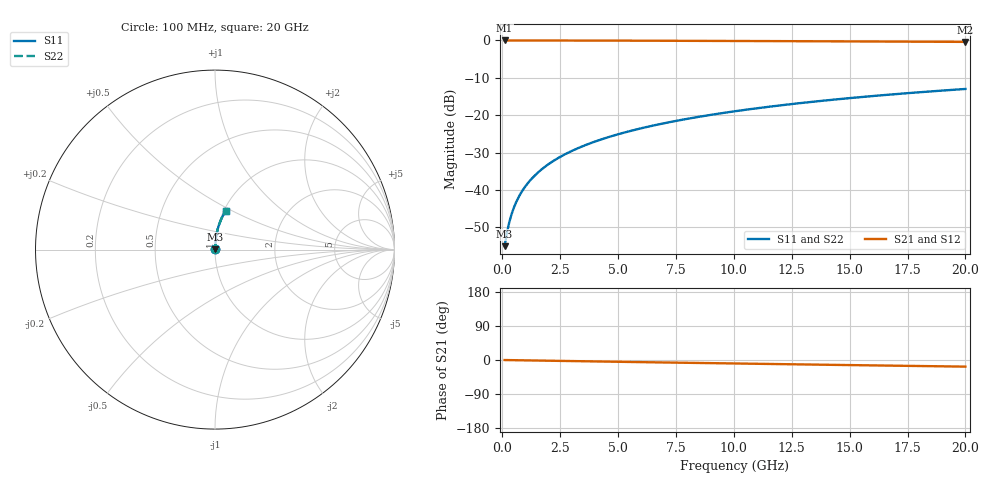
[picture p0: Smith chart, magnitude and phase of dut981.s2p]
! Touchstone file exported from HFSS 2024.1.0
!  File:  C:/UserFiles/LocalFiles/RDL_TSV_Batchsim/temp_RDL_top_981_1779939240.aedt
!  Generated:  11:36:18 AM May 28, 2026
!  Design:  RDL_top
!  Project:  temp_RDL_top_981_1779939240
!  Setup:  Setup1
!  Solution:  Sweep
! Variables:
!  dtsv = 10.80580581um
!  hbump = 3um
!  htsv = 96.15um
!  ldown = 100um
!  lrdl = 185.61um
!  p = 40
!  p1 = 51.59um
!  rhole = 1um
!  t = 450um
!  tdown = 3.915915916um
!  trdl = 3.85um
!  wdown = 15.38538539um
!  wrdl = 14.26um
# GHz S MA R 50.000000
! Terminal data exported
! Port[1] = Box2_T1
! Port[2] = Box2_T2
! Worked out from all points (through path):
!   200 points, 100 MHz to 20 GHz, reference 50 ohm
!   highest |S21| = -0.01 dB at 100 MHz (marker M1); lowest = -0.4 dB at 20 GHz (marker M2)
!   group delay of S21, straight-line fit = 2.42 ps
!   lowest |S11| = -55.0 dB at 100 MHz (marker M3), VSWR 1.00, Z = 50.1 + j0.115 ohm
!   |S11| at or under -10 dB: start of sweep to end of sweep
!   |S22| runs from -55.0 to -13.0 dB; largest |S21 - S12| = 2.1e-15
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0.1  0.001773 40.4  0.9986 -0.1  0.9986 -0.1  0.001773 40.4
! Gamma 0 0 0 0
! Port Impedance 50 0 50 0
0.2  0.00267 58.9  0.9986 -0.2  0.9986 -0.2  0.00267 58.9
0.3  0.00369 67.4  0.9986 -0.3  0.9986 -0.3  0.00369 67.4
0.4  0.004744 72.1  0.9985 -0.4  0.9985 -0.4  0.004744 72.1
0.5  0.005811 75.2  0.9985 -0.5  0.9985 -0.5  0.005811 75.2
0.6  0.006885 77.3  0.9984 -0.6  0.9984 -0.6  0.006885 77.3
0.8  0.009046 80.0  0.9983 -0.8  0.9983 -0.8  0.009046 80.0
1.1  0.01231 82.3  0.9982 -1.1  0.9982 -1.1  0.01231 82.3
1.5  0.01669 83.9  0.998 -1.4  0.998 -1.4  0.01669 83.9
1.8  0.01999 84.6  0.9977 -1.7  0.9977 -1.7  0.01999 84.6
2.1  0.0233 85.0  0.9975 -2.0  0.9975 -2.0  0.0233 85.0
2.7  0.02993 85.5  0.9969 -2.6  0.9969 -2.6  0.02993 85.5
3.5  0.03882 85.7  0.9959 -3.3  0.9959 -3.3  0.03882 85.7
4.2  0.04663 85.7  0.9949 -4.0  0.9949 -4.0  0.04663 85.7
5  0.0556 85.5  0.9936 -4.7  0.9936 -4.7  0.0556 85.5
5.9  0.06574 85.2  0.9919 -5.6  0.9919 -5.6  0.06574 85.2
6.8  0.07594 84.7  0.9901 -6.4  0.9901 -6.4  0.07594 84.7
8.3  0.09302 83.8  0.9869 -7.7  0.9869 -7.7  0.09302 83.8
10.1  0.1136 82.6  0.9827 -9.3  0.9827 -9.3  0.1136 82.6
13.4  0.1512 80.0  0.9744 -12.1  0.9744 -12.1  0.1512 80.0
16.7  0.1882 77.3  0.9654 -14.8  0.9654 -14.8  0.1882 77.3
20  0.2243 74.6  0.9558 -17.5  0.9558 -17.5  0.2243 74.6
